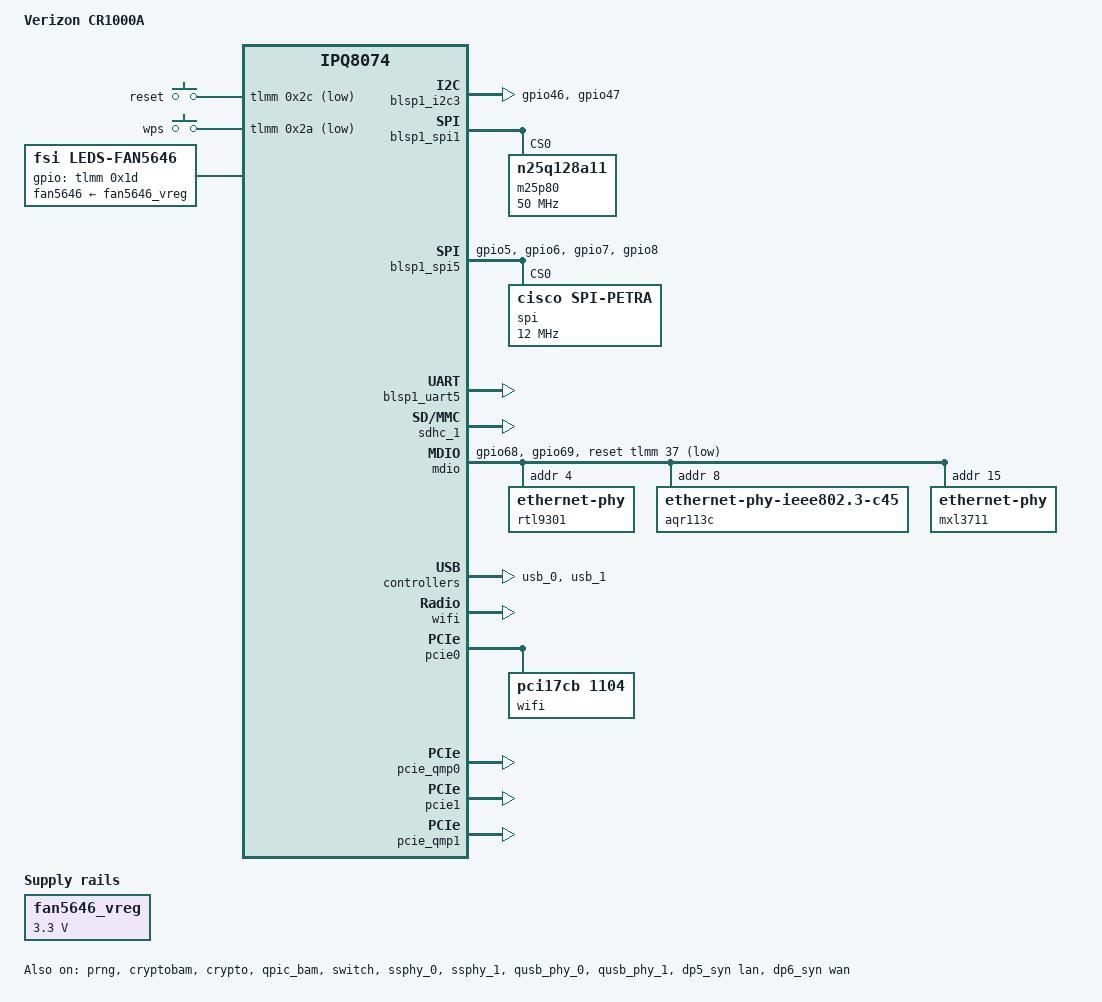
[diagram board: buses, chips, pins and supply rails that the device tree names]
/dts-v1/;
// /memreserve/	0x000000004a3e8000 0x0000000000015000;

#include "ipq8074.dtsi"
#include "ipq8074-hk-cpu.dtsi"
#include "ipq8074-ess.dtsi"

#include <dt-bindings/input/input.h>
#include <dt-bindings/gpio/gpio.h>

/ {
	model = "Verizon CR1000A";
	compatible = "verizon,cr1000a", "qcom,ipq8074";

	// memory {
	//	device_type = "memory";
	//	reg = <0x00 0x40000000 0x00 0x80000000>;
	// };

	aliases {
		ethernet4 = &dp5;
		ethernet5 = &dp6;
		sdhc1 = &sdhc_1;
		serial0 = &blsp1_uart5;
		label-mac-device = &dp5_syn;
	};
	
	chosen {
		stdout-path = "serial0:115200n8";
	};

	keys {
		compatible = "gpio-keys";
		pinctrl-0 = <&button_pins>;
		pinctrl-names = "default";

		reset {
			debounce-interval = <0x3c>;
			gpios = <&tlmm 0x2c GPIO_ACTIVE_LOW>;
			label = "reset";
			linux,code = <KEY_RESTART>;
		};

		wps {
			debounce-interval = <0x3c>;
			gpios = <&tlmm 0x2a GPIO_ACTIVE_LOW>;
			label = "wps";
			linux,code = <KEY_WPS_BUTTON>;
		};
	};
};

&soc {
	fan5646_vreg: dummy_reg {
		compatible = "regulator-fixed";
		regulator-name = "fan5646_vreg";
		regulator-min-microvolt = <3300000>;
		regulator-max-microvolt = <3300000>;
	};

	fan5646 {
		status = "ok";
		compatible = "fsi,leds-fan5646";
		linux-name = "white";
		rgb-name = "rgb";
		gpios = <&tlmm 0x1d 0x2>; /* COMM GPIO, GPIOF_DIR_OUT | GPIOF_INIT_HIGH */
		full-current = <0>; /* Default current 5 mA */
		tsleep = <7>;
		fan5646-supply = <&fan5646_vreg>; /* phandle of our regulator node */
	};
};

&blsp1_i2c3 {
	status = "okay";
	pinctrl-0 = <&i2c_2_pins>;
	pinctrl-names = "default";
};

&blsp1_spi1 {
	status = "okay";
	
	m25p80@0 {
	 	#address-cells = <0x01>;
	 	#size-cells = <0x01>;
		reg = <0x00>;
		compatible = "n25q128a11", "jdec,spi-nor";
		linux,modalias = "m25p80", "n25q128a11";
		spi-max-frequency = <0x2faf080>;
		use-default-sizes;
	};
};

&blsp1_spi5 {
	pinctrl-0 = <&spi_4_pins>;
	pinctrl-names = "default";
	status = "ok";
	spi@4 {
		// compatible = "qca,spidev";
		compatible = "cisco,spi-petra";
		reg = <0x00>;
		spi-max-frequency = <12000000>;
	};
};

&blsp1_uart5 {
	status = "okay";
};

&prng {
	status = "okay";
};

&cryptobam {
	status = "okay";
};

&crypto {
	status = "okay";
};

&edma {
	status = "okay";
};

&qpic_bam {
	status = "okay";
};

&sdhc_1 {
	status = "okay";
};

&tlmm {
	mdio_pins: mdio-pins {
		mdc {
			pins = "gpio68";
			function = "mdc";
			drive-strength = <8>;
			bias-pull-up;
		};

		mdio {
			pins = "gpio69";
			function = "mdio";
			drive-strength = <8>;
			bias-pull-up;
		};
	};

	spi_4_pins: spi-4-pins {
		pins = "gpio5", "gpio6", "gpio7", "gpio8";
		function = "blsp4_spi0";
		drive-strength = <8>;
		bias-disable;
	};
	
	i2c_2_pins: i2c-2-pins {
		pins = "gpio46", "gpio47";
		function = "blsp2_i2c";
		drive-strength = <8>;
		bias-disable;
	};

	button_pins: button_pins {
		wps_button {
			pins = "gpio42";
			function = "gpio";
			drive-strength = <0x08>;
			bias-pull-up;
		};

		reset_button {
			pins = "gpio44";
			function = "gpio";
			drive-strength = <0x08>;
			bias-pull-up;
		};
	};
};

&mdio {
	status = "okay";
	pinctrl-0 = <&mdio_pins>;
	pinctrl-names = "default";
	reset-gpios = <&tlmm 37 GPIO_ACTIVE_LOW>;

	rtl9301: ethernet-phy@4 {
		// compatible = "ethernet-phy-idaaaa.bbbb";
		reg = <0x04>;
	};

	aqr113c: ethernet-phy@8 {
		compatible = "ethernet-phy-ieee802.3-c45";
		reg = <0x08>;
		// reset-gpios = <&tlmm 63 GPIO_ACTIVE_LOW>;
	};

	mxl3711: ethernet-phy@f {
		// compatible = "ethernet-phy-ieee802.3-c22";
		reg = <0x0f>;
		phy-mode = "2500base-x";
	};
};

 &switch {
	status = "okay";

	pinctrl-names = "default";
	switch_wan_bmp = <ESS_PORT5>;
	switch_wan_bmp = <ESS_PORT6>;
	switch_mac_mode = <0x00>;  // PSGMII
	switch_mac_mode1 = <0x0e>; // 10GBase-R
	switch_mac_mode2 = <0x0d>; // UXSGMII
	bm_tick_mode = <0x00>;
	tm_tick_mode = <0x00>;

	qcom,port_phyinfo {
		
		rtl9301port: port@4 {
			port_id = <5>;
			phy_address = <0x04>;
		};

		port@5 {
			port_id = <6>;
			ethernet-phy-ieee802.3-c45;
			phy_address = <0x08>;
		};
	};

};

&ssphy_0 {
	status = "okay";
};

&ssphy_1 {
	status = "okay";
};

&qusb_phy_0 {
	status = "okay";
};

&qusb_phy_1 {
	status = "okay";
};

&usb_0 {
	status = "okay";

	// vbus-supply = <&reg_usb_vbus>;
};

&usb_1 {
	status = "okay";
};

&wifi {
	status = "okay";
	qcom,ath11k-calibration-variant = "Verizon-CR1000A";
};

&dp5_syn {
	status = "okay";
	label = "lan";
	phy-handle = <&rtl9301port>;
};

&dp6_syn {
	status = "okay";
	label = "wan";
	phy-handle = <&aqr113c>;
};

&pcie0 {
	status = "okay";

	perst-gpio = <&tlmm 58 GPIO_ACTIVE_LOW>;

	bridge@0,0 {
		reg = <0x00000000 0 0 0 0>;
		#address-cells = <3>;
		#size-cells = <2>;
		ranges;

		wifi@1,0 {
			status = "okay";

			/* ath11k has no DT compatible for PCI cards */
			compatible = "pci17cb,1104";
			reg = <0x00010000 0 0 0 0>;

			qcom,ath11k-calibration-variant = "Verizon-CR1000A";
		};
	};
};

&pcie_qmp0 {
	status = "okay";
};

&pcie1 {
	status = "okay";
};

&pcie_qmp1 {
	status = "okay";
};
